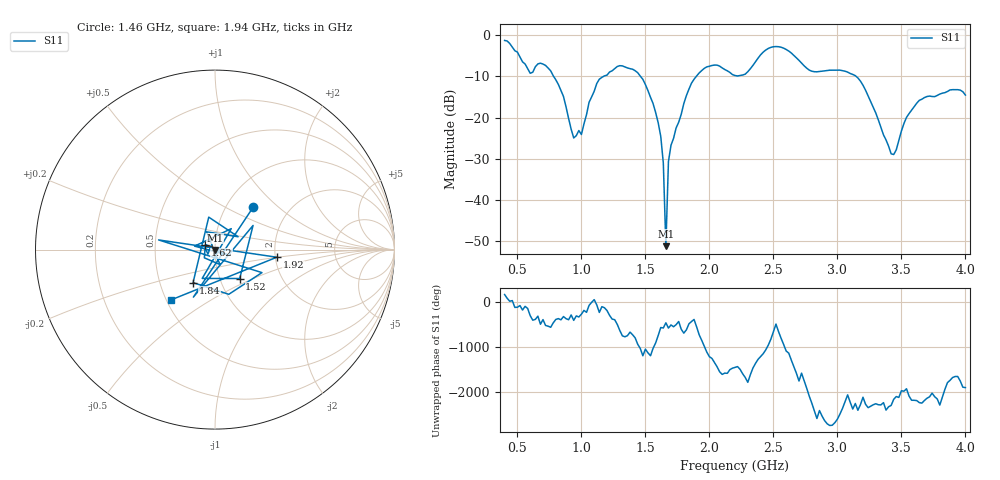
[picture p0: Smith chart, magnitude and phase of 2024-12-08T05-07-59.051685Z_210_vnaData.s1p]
!Created with skrf (http://scikit-rf.org).
# Hz S RI R 50.0
!freq ReS11 ImS11
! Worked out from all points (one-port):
!   181 points, 400 MHz to 4 GHz, reference 50 ohm
!   lowest |S11| = -51.2 dB at 1.66 GHz (marker M1), VSWR 1.01, Z = 49.9 - j0.271 ohm
!   |S11| at or under -10 dB: 782.7 MHz to 1.174 GHz (391.6 MHz wide, 40 % of centre); 1.461 GHz to 1.898 GHz (437.2 MHz wide, 26 % of centre); 3.146 GHz to end of sweep
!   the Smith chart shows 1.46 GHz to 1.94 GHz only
!   S11 on the Smith chart (normalised r, x): 1.46 GHz: 1.33, +0.70; 1.52 GHz: 1.24, -0.42; 1.62 GHz: 0.90, +0.05; 1.84 GHz: 0.74, -0.28; 1.92 GHz: 2.04, -0.20; 1.94 GHz: 0.53, -0.34
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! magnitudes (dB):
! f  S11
! 400 MHz  -1.3
! 600 MHz  -9.3
! 720 MHz  -7.4
! 860 MHz  -14.9
! 940 MHz  -24.9
! 1 GHz  -24.1
! 1.12 GHz  -11.7
! 1.3 GHz  -7.4
! 1.46 GHz  -10.0
! 1.52 GHz  -13.5
! 1.62 GHz  -24.6
! 1.64 GHz  -31.1
! 1.66 GHz  -51.2
! 1.68 GHz  -30.7
! 1.76 GHz  -21.1
! 1.84 GHz  -13.1
! 1.92 GHz  -9.2
! 1.94 GHz  -8.6
! 2.2 GHz  -9.8
! 2.48 GHz  -3.0
! 2.66 GHz  -4.9
! 2.8 GHz  -8.8
! 3.1 GHz  -9.3
! 3.22 GHz  -13.4
! 3.42 GHz  -28.8
! 3.56 GHz  -19.0
! 3.7 GHz  -14.9
! 4 GHz  -14.5
